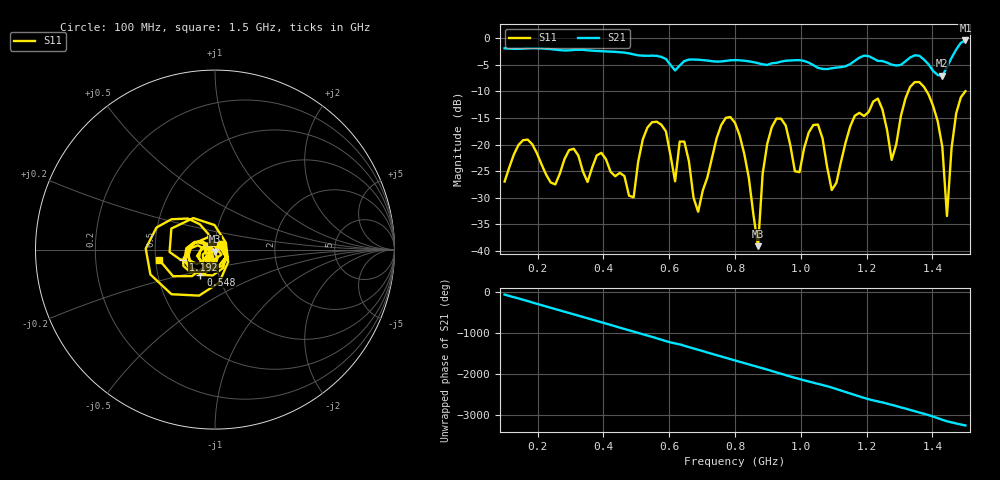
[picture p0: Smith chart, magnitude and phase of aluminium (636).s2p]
! NanoVNA-App
! Date: 2025-09-25 15:00:14
! Start: 100MHz Stop: 1,5GHz Points: 101
! S-Parameter data: F S11 S21 S12 S22
# Hz S RI R 50
!  Frequency  S11_Real  S11_Imag  S21_Real  S21_Imag  S12_Real  S12_Imag  S22_Real  S22_Imag
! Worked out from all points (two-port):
!   101 points, 100 MHz to 1.5 GHz, reference 50 ohm
!   highest |S21| = -0.45 dB at 1.5 GHz (marker M1); lowest = -7.1 dB at 1.43 GHz (marker M2)
!   |S21| within 3 dB of the highest: start of sweep to 569.4 MHz; 1.46 GHz to end of sweep (the widest 2 of 4)
!   lowest |S11| = -39.1 dB at 870 MHz (marker M3), VSWR 1.02, Z = 50.1 - j1.1 ohm
!   |S11| at or under -10 dB: start of sweep to 1.327 GHz; 1.382 GHz to 1.5 GHz (117.6 MHz wide, 8.16 % of centre)
!   S12 and S22 are empty: the file has one direction only
!   S11 on the Smith chart (normalised r, x): 100 MHz: 1.07, +0.06; 548 MHz: 0.82, -0.24; 1.192 GHz: 0.70, -0.08; 1.5 GHz: 0.52, -0.07
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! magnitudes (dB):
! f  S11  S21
! 100 MHz  -27.0  -1.9
! 156 MHz  -19.2  -2.0
! 338 MHz  -25.1  -2.2
! 492 MHz  -29.9  -3.1
! 548 MHz  -15.8  -3.3
! 576 MHz  -16.3  -3.5
! 646 MHz  -19.5  -4.3
! 688 MHz  -32.6  -4.1
! 800 MHz  -15.9  -4.1
! 870 MHz  -39.1  -4.7
! 912 MHz  -16.7  -4.7
! 996 MHz  -25.2  -4.2
! 1.038 GHz  -16.3  -5.1
! 1.094 GHz  -28.6  -5.7
! 1.192 GHz  -14.7  -3.3
! 1.234 GHz  -11.4  -4.3
! 1.276 GHz  -22.9  -5.0
! 1.346 GHz  -8.3  -3.3
! 1.43 GHz  -20.5  -7.1
! 1.444 GHz  -33.4  -5.5
! 1.472 GHz  -14.2  -2.2
! 1.5 GHz  -10.0  -0.5
